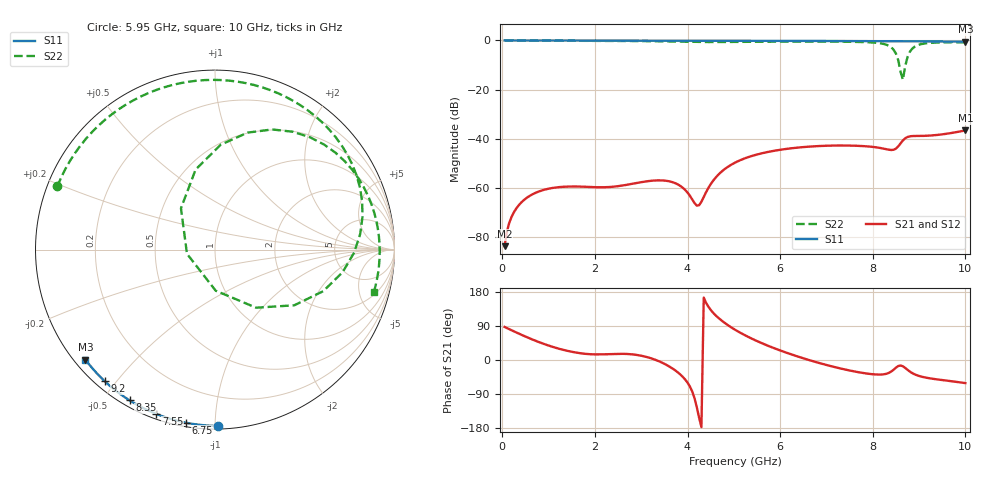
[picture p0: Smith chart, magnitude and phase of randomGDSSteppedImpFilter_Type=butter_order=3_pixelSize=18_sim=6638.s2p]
! freq	dB(S11)	phase(S11)	dB(S12)	phase(S12)
!  dB(S21)	phase(S21)	dB(S22)	phase(S22)
!S-par simulation data
#  GHz  S  DB  R 50
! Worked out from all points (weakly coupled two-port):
!   200 points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, 50 MHz to 10 GHz, reference 50 ohm
!   highest |S21| = -36.67 dB at 10 GHz (marker M1); lowest = -83.9 dB at 50 MHz (marker M2)
!   lowest |S11| = -0.5 dB at 10 GHz (marker M3), VSWR 36.64, Z = 1.55 - j18.3 ohm
!   |S11| at or under -10 dB: nowhere
!   |S22| runs from -16.0 to 0.0 dB; largest |S21 - S12| = 0
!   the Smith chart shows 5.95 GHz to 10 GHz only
!   S11 on the Smith chart (normalised r, x): 5.95 GHz: 0.02, -1.02; 6.75 GHz: 0.02, -0.85; 7.55 GHz: 0.02, -0.71; 8.35 GHz: 0.02, -0.58; 9.2 GHz: 0.03, -0.47; 10 GHz: 0.03, -0.37
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0.05  -0.00 -0.8  -83.87 87.2  -83.87 87.2  -0.01 -5.1
0.35  -0.01 -5.7  -67.31 70.0  -67.31 70.0  -0.05 -34.8
0.85  -0.02 -13.7  -61.17 44.6  -61.17 44.6  -0.10 -80.6
1.75  -0.04 -27.9  -59.63 16.8  -59.63 16.8  -0.14 -148.9
2.6  -0.05 -41.1  -59.13 16.3  -59.13 16.3  -0.20 152.9
3.4  -0.07 -53.1  -57.04 -4.2  -57.04 -4.2  -0.34 85.5
3.75  -0.08 -58.3  -58.31 -28.8  -58.31 -28.8  -0.46 45.4
4.15  -0.09 -64.1  -66.27 -100.5  -66.27 -100.5  -0.60 -10.1
4.6  -0.10 -70.5  -56.07 118.6  -56.07 118.6  -0.64 -75.0
5.05  -0.12 -76.7  -49.58 78.1  -49.58 78.1  -0.58 -128.6
5.45  -0.13 -82.2  -46.75 52.8  -46.75 52.8  -0.52 -165.3
5.95  -0.15 -89.0  -44.72 27.5  -44.72 27.5  -0.48 158.2
6.7  -0.19 -98.8  -43.19 -2.9  -43.19 -2.9  -0.47 112.9
6.75  -0.19 -99.4  -43.14 -4.7  -43.14 -4.7  -0.47 110.1
7.55  -0.24 -109.6  -42.88 -28.9  -42.88 -28.9  -0.56 65.2
8.35  -0.31 -119.6  -44.55 -33.8  -44.55 -33.8  -2.21 -1.2
8.55  -0.32 -122.0  -43.17 -15.9  -43.17 -15.9  -8.04 -54.7
8.65  -0.33 -123.2  -40.77 -16.6  -40.77 -16.6  -16.03 -171.5
8.7  -0.34 -123.9  -39.89 -20.9  -39.89 -20.9  -10.51 129.5
8.85  -0.35 -125.7  -38.98 -34.4  -38.98 -34.4  -3.39 74.4
9.2  -0.39 -130.0  -38.82 -47.7  -38.82 -47.7  -1.06 30.0
10  -0.47 -139.7  -36.67 -61.0  -36.67 -61.0  -0.76 -15.1
